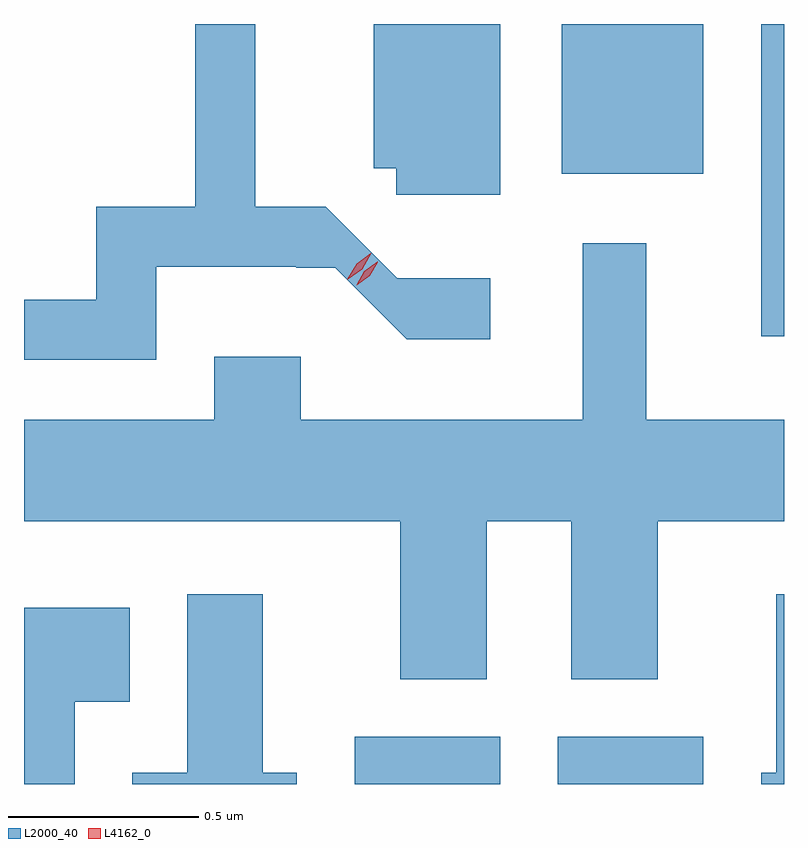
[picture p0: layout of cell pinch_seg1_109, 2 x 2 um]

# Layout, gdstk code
import gdstk
lib = gdstk.Library(unit=1e-6, precision=1e-09)
def R(c, l, rs):  # rectangles x0, y0, x1, y1
    for r in rs: c.add(gdstk.rectangle(r[:2], r[2:], *l))
def P(c, l, *ps):  # polygons
    for p in ps: c.add(gdstk.Polygon(p, *l))
L2000_40 = (2000, 40)
L4162_0 = (4162, 0)

pinch_seg1_109 = lib.new_cell('pinch_seg1_109')
R(pinch_seg1_109, L2000_40, [(197.731,863.365,198.114,863.489), (198.266,863.365,198.649,863.489), (198.801,864.543,198.861,865.365), (198.276,864.971,198.649,865.365)])
P(pinch_seg1_109, L2000_40, [(197.209,864.726),(197.578,864.726),(197.578,864.724),(197.68,864.724),(197.868,864.536),(198.088,864.536),(198.088,864.696),(197.843,864.696),(197.655,864.884),(197.469,864.884),(197.469,865.365),(197.311,865.365),(197.311,864.884),(197.051,864.884),(197.051,864.639),(196.861,864.639),(196.861,864.481),(197.209,864.481)],
  [(198.114,865.365),(197.781,865.365),(197.781,864.986),(197.841,864.986),(197.841,864.916),(198.114,864.916)],
  [(198.079,864.056),(198.301,864.056),(198.301,863.641),(198.529,863.641),(198.529,864.056),(198.861,864.056),(198.861,864.324),(198.499,864.324),(198.499,864.788),(198.331,864.788),(198.331,864.324),(197.589,864.324),(197.589,864.489),(197.361,864.489),(197.361,864.324),(196.861,864.324),(196.861,864.056),(197.851,864.056),(197.851,863.641),(198.079,863.641)],
  [(197.579,863.394),(197.489,863.394),(197.489,863.864),(197.291,863.864),(197.291,863.394),(197.146,863.394),(197.146,863.365),(197.579,863.365)],
  [(198.861,863.864),(198.841,863.864),(198.841,863.394),(198.801,863.394),(198.801,863.365),(198.861,863.365)],
  [(196.994,863.581),(197.139,863.581),(197.139,863.829),(196.861,863.829),(196.861,863.365),(196.994,863.365)])
P(pinch_seg1_109, L4162_0, [(197.736,864.678),(197.736,864.679),(197.757,864.715),(197.791,864.739),(197.792,864.739),(197.792,864.738),(197.771,864.702),(197.737,864.678)],
  [(197.712,864.692),(197.712,864.693),(197.736,864.734),(197.774,864.762),(197.775,864.762),(197.775,864.762),(197.751,864.72),(197.712,864.692)])

lib.write_gds('pinch_seg1_109.gds')
